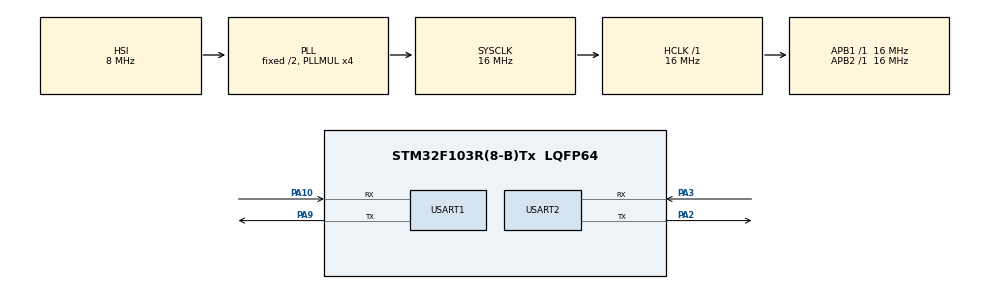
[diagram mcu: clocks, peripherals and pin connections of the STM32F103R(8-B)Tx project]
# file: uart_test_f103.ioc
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Mcu.Family=STM32F1
Mcu.Name=STM32F103R(8-B)Tx
Mcu.Package=LQFP64
NVIC.PriorityGroup=NVIC_PRIORITYGROUP_4
NVIC.TIM2_IRQn=true\:0\:0\:false\:false\:true\:true\:true\:true
NVIC.USART1_IRQn=true\:0\:0\:false\:false\:true\:true\:true\:true
NVIC.USART2_IRQn=true\:0\:0\:false\:false\:true\:true\:true\:true
PA10.Mode=Asynchronous
PA10.Signal=USART1_RX
PA2.Mode=Asynchronous
PA2.Signal=USART2_TX
PA3.Mode=Asynchronous
PA3.Signal=USART2_RX
PA9.Mode=Asynchronous
PA9.Signal=USART1_TX
ProjectManager.HeapSize=0x200
ProjectManager.StackSize=0x400
ProjectManager.TargetToolchain=STM32CubeIDE
RCC.AHBFreq_Value=16000000
RCC.APB1Freq_Value=16000000
RCC.APB1TimFreq_Value=16000000
RCC.APB2Freq_Value=16000000
RCC.APB2TimFreq_Value=16000000
RCC.HCLKFreq_Value=16000000
RCC.PLLMUL=RCC_PLL_MUL4
RCC.SYSCLKFreq_VALUE=16000000
RCC.SYSCLKSource=RCC_SYSCLKSOURCE_PLLCLK
RCC.USBFreq_Value=16000000
TIM2.Period=4000-1
TIM2.Prescaler=1000-1
USART1.VirtualMode=VM_ASYNC
USART2.VirtualMode=VM_ASYNC
VP_SYS_VS_ND.Mode=No_Debug
VP_TIM2_VS_ClockSourceINT.Mode=Internal
board=custom

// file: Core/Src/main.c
/* USER CODE BEGIN Header */
/**
  ******************************************************************************
  * @file           : main.c
  * @brief          : Main program body
  ******************************************************************************
  * @attention
  *
  * Copyright (c) 2022 STMicroelectronics.
  * All rights reserved.
  *
  * This software is licensed under terms that can be found in the LICENSE file
  * in the root directory of this software component.
  * If no LICENSE file comes with this software, it is provided AS-IS.
  *
  ******************************************************************************
  */
/* USER CODE END Header */
#include "main.h"

/* USER CODE BEGIN Includes */
#include <stdio.h>
#include <stdbool.h>
/* USER CODE END Includes */

TIM_HandleTypeDef htim2;

UART_HandleTypeDef huart1;
UART_HandleTypeDef huart2;

void SystemClock_Config(void);
static void MX_GPIO_Init(void);
static void MX_TIM2_Init(void);
static void MX_USART1_UART_Init(void);
static void MX_USART2_UART_Init(void);
/* USER CODE BEGIN PFP */
void hex_to_ascii(uint8_t value, uint8_t* result);
/* USER CODE END PFP */

/* USER CODE BEGIN 0 */
uint8_t UART1RxBuf[5] = {0};
uint8_t UART1RxBuf1;

uint8_t UART2RxBuf[17] = {0};
uint8_t UART2RxBuf1;

uint8_t gCntRx1 = 0;
uint8_t gCntRx2 = 0;

bool gCmdRX1Info = false;
bool gCmdRX2Info = false;

__IO ITStatus Uart1RxReady = RESET, Uart2RxReady = RESET;
/* USER CODE END 0 */

int main(void)
{

  /* MCU Configuration--------------------------------------------------------*/

  /* Reset of all peripherals, Initializes the Flash interface and the Systick. */
  HAL_Init();

  /* Configure the system clock */
  SystemClock_Config();

  /* Initialize all configured peripherals */
  MX_GPIO_Init();
  MX_TIM2_Init();
  MX_USART1_UART_Init();
  MX_USART2_UART_Init();
  /* USER CODE BEGIN 2 */
  HAL_TIM_Base_Start_IT(&htim2);
  /* USER CODE END 2 */

  /* Infinite loop */
  while (1)
  {

    /* USER CODE BEGIN 3 */
	  HAL_UART_Receive_IT(&huart1,&UART1RxBuf1,1);
	  HAL_UART_Receive_IT(&huart2,&UART2RxBuf1,1);

	  /* 일단은 250ms 간격으로 프로그램 수행하게 짰음 */
	  if (Uart1RxReady==SET)
	  {
		 if (UART1RxBuf1==0x02 || gCmdRX1Info == true)
		 {
			gCmdRX1Info = true;
		 	UART1RxBuf[gCntRx1] = UART1RxBuf1;
		 	Uart1RxReady = RESET;

		 	if(gCntRx1 == 4)
		 	{
		 		//체크섬 확인하고 다르면 폐기하는 코드는 아직 작성 안했음
		 		uint8_t newline[2] = {'\r','\n'};
		 		uint8_t ascii[2] = {0};
		 		uint8_t value;

		 		value = UART1RxBuf[2];
		 		hex_to_ascii(value, ascii);
		 		HAL_UART_Transmit(&huart2, ascii, 2, 0xFF);

		 		value = UART1RxBuf[1];
		 		hex_to_ascii(value, ascii);
		 		HAL_UART_Transmit(&huart2, ascii, 2, 0xFF);

		 		HAL_UART_Transmit(&huart2, (uint8_t*)&newline, 2, 0xFFFF);

		 		gCntRx1 = 0;

		 		for (int i = 0; i<5; i++)
		 		{
		 			UART1RxBuf[i] = 0;
		 		}

		 		gCmdRX1Info = false;
		 	}
		 	else
		 	{
		 		gCntRx1++;
		 	}

		 	UART1RxBuf1 = 0;
		 }
	  }

	 if(Uart2RxReady==SET)
	 {
		 if(UART2RxBuf1 == 'q' || gCmdRX2Info == true)
		 {
			 gCmdRX2Info = true;
			 UART2RxBuf[gCntRx2] = UART2RxBuf1;
			 Uart2RxReady = RESET;

			 if(gCntRx2 == 15)
			 {

				 uint8_t chksum=0;

				 for(int i =1;i<15;i++)
					 chksum += UART2RxBuf[i];

				 UART2RxBuf[16] = chksum;

				 HAL_UART_Transmit(&huart1, UART2RxBuf, 17, HAL_MAX_DELAY);

				 gCntRx2 = 0;

				 for (int i = 0; i<17; i++)
				 {
				 	UART2RxBuf[i] = 0;
				 }

				 gCmdRX2Info = false;
			 }
			 else
			 {
				 gCntRx2++;
			 }

			 UART2RxBuf1 = 0;
		 }
	 }
  }
  /* USER CODE END 3 */
}

void SystemClock_Config(void)
{
  RCC_OscInitTypeDef RCC_OscInitStruct = {0};
  RCC_ClkInitTypeDef RCC_ClkInitStruct = {0};

  /** Initializes the RCC Oscillators according to the specified parameters
  * in the RCC_OscInitTypeDef structure.
  */
  RCC_OscInitStruct.OscillatorType = RCC_OSCILLATORTYPE_HSI;
  RCC_OscInitStruct.HSIState = RCC_HSI_ON;
  RCC_OscInitStruct.HSICalibrationValue = RCC_HSICALIBRATION_DEFAULT;
  RCC_OscInitStruct.PLL.PLLState = RCC_PLL_ON;
  RCC_OscInitStruct.PLL.PLLSource = RCC_PLLSOURCE_HSI_DIV2;
  RCC_OscInitStruct.PLL.PLLMUL = RCC_PLL_MUL4;
  if (HAL_RCC_OscConfig(&RCC_OscInitStruct) != HAL_OK)
  {
    Error_Handler();
  }

  /** Initializes the CPU, AHB and APB buses clocks
  */
  RCC_ClkInitStruct.ClockType = RCC_CLOCKTYPE_HCLK|RCC_CLOCKTYPE_SYSCLK
                              |RCC_CLOCKTYPE_PCLK1|RCC_CLOCKTYPE_PCLK2;
  RCC_ClkInitStruct.SYSCLKSource = RCC_SYSCLKSOURCE_PLLCLK;
  RCC_ClkInitStruct.AHBCLKDivider = RCC_SYSCLK_DIV1;
  RCC_ClkInitStruct.APB1CLKDivider = RCC_HCLK_DIV1;
  RCC_ClkInitStruct.APB2CLKDivider = RCC_HCLK_DIV1;

  if (HAL_RCC_ClockConfig(&RCC_ClkInitStruct, FLASH_LATENCY_0) != HAL_OK)
  {
    Error_Handler();
  }
}

static void MX_TIM2_Init(void)
{

  TIM_ClockConfigTypeDef sClockSourceConfig = {0};
  TIM_MasterConfigTypeDef sMasterConfig = {0};

  htim2.Instance = TIM2;
  htim2.Init.Prescaler = 1000-1;
  htim2.Init.CounterMode = TIM_COUNTERMODE_UP;
  htim2.Init.Period = 4000-1;
  htim2.Init.ClockDivision = TIM_CLOCKDIVISION_DIV1;
  htim2.Init.AutoReloadPreload = TIM_AUTORELOAD_PRELOAD_DISABLE;
  if (HAL_TIM_Base_Init(&htim2) != HAL_OK)
  {
    Error_Handler();
  }
  sClockSourceConfig.ClockSource = TIM_CLOCKSOURCE_INTERNAL;
  if (HAL_TIM_ConfigClockSource(&htim2, &sClockSourceConfig) != HAL_OK)
  {
    Error_Handler();
  }
  sMasterConfig.MasterOutputTrigger = TIM_TRGO_RESET;
  sMasterConfig.MasterSlaveMode = TIM_MASTERSLAVEMODE_DISABLE;
  if (HAL_TIMEx_MasterConfigSynchronization(&htim2, &sMasterConfig) != HAL_OK)
  {
    Error_Handler();
  }

}

static void MX_USART1_UART_Init(void)
{

  huart1.Instance = USART1;
  huart1.Init.BaudRate = 115200;
  huart1.Init.WordLength = UART_WORDLENGTH_8B;
  huart1.Init.StopBits = UART_STOPBITS_1;
  huart1.Init.Parity = UART_PARITY_NONE;
  huart1.Init.Mode = UART_MODE_TX_RX;
  huart1.Init.HwFlowCtl = UART_HWCONTROL_NONE;
  huart1.Init.OverSampling = UART_OVERSAMPLING_16;
  if (HAL_UART_Init(&huart1) != HAL_OK)
  {
    Error_Handler();
  }

}

static void MX_USART2_UART_Init(void)
{

  huart2.Instance = USART2;
  huart2.Init.BaudRate = 115200;
  huart2.Init.WordLength = UART_WORDLENGTH_8B;
  huart2.Init.StopBits = UART_STOPBITS_1;
  huart2.Init.Parity = UART_PARITY_NONE;
  huart2.Init.Mode = UART_MODE_TX_RX;
  huart2.Init.HwFlowCtl = UART_HWCONTROL_NONE;
  huart2.Init.OverSampling = UART_OVERSAMPLING_16;
  if (HAL_UART_Init(&huart2) != HAL_OK)
  {
    Error_Handler();
  }

}

static void MX_GPIO_Init(void)
{

  /* GPIO Ports Clock Enable */
  __HAL_RCC_GPIOA_CLK_ENABLE();

}

/* USER CODE BEGIN 4 */
void hex_to_ascii(uint8_t value, uint8_t* result)
{
	uint8_t hex_10 = value >> 4;
	uint8_t hex_1 = value & 0x0F;

	if((hex_10 & 0x0F) <= 9)
	{
		result[0] = '0' + hex_10;
	}
	else
	{
		result[0] = '7' + hex_10;
	}

	if((hex_1 & 0x0F) <= 9)
	{
		result[1] = '0' + hex_1;
	}
	else
	{
		result[1] = '7' + hex_1;
	}

}

void HAL_TIM_PeriodElapsedCallback(TIM_HandleTypeDef *htim)
{
	if(htim->Instance == TIM2)
	{
		uint8_t sendEvery500ms = 's';

		HAL_UART_Transmit(&huart1, (uint8_t*)&sendEvery500ms, 1, HAL_MAX_DELAY);
	}
}

void HAL_UART_RxCpltCallback(UART_HandleTypeDef *huart)
{
	if(huart->Instance == USART1)
	{
		Uart1RxReady = SET;
	}

	if(huart->Instance == USART2)
	{
		Uart2RxReady = SET;
	}
}

/* USER CODE END 4 */

void Error_Handler(void)
{
  __disable_irq();
  while (1)
  {
  }
}
